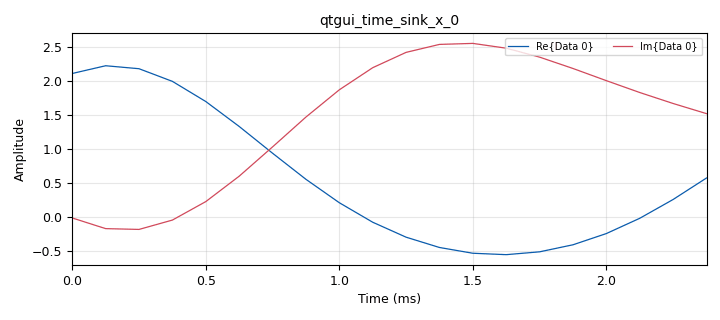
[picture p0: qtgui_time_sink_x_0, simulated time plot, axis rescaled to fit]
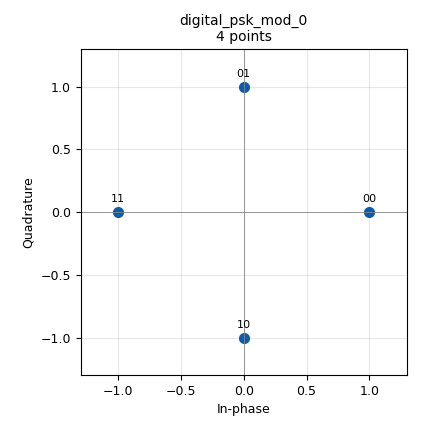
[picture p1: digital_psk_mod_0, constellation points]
options:
  parameters:
    category: Custom
    generate_options: qt_gui
    id: pyqt_eye_sink
    output_language: python
  states: {}

blocks:
- name: freq_bw
  id: variable_qtgui_range
  parameters:
    gui_hint: 1, 0, 1, 2
    orient: Qt.Horizontal
    start: '0'
    step: '0.001'
    stop: '0.1'
    value: '0'
  states: {}
- name: freq_offset
  id: variable_qtgui_range
  parameters:
    gui_hint: 0, 1, 1, 1
    label: Frequency Offset
    orient: Qt.Horizontal
    start: '-.5'
    step: '0.01'
    stop: '.5'
    value: '0'
  states: {}
- name: noise_amp
  id: variable_qtgui_range
  parameters:
    gui_hint: 0, 0, 1, 1
    label: Channel Noise
    orient: Qt.Horizontal
    start: '0'
    step: '0.01'
    stop: '1'
    value: '0'
  states: {}
- name: rolloff
  id: variable
  parameters:
    value: '0.35'
  states: {}
- name: samp_rate
  id: variable
  parameters:
    value: 1000*sps
  states: {}
- name: sps
  id: variable_qtgui_range
  parameters:
    gui_hint: 4,0,1,1
    label: Samples per symbol
    orient: Qt.Vertical
    rangeType: int
    start: '3'
    step: '1'
    stop: '10'
    value: '8'
  states: {}
- name: analog_random_source_x
  id: analog_random_source_x
  parameters:
    max: '256'
    min: '0'
    num_samps: '10000000'
    repeat: 'True'
    type: byte
  states: {}
- name: blocks_multiply_const_vxx_0_0
  id: blocks_multiply_const_vxx
  parameters:
    const: 1+1j
    type: complex
  states: {}
- name: blocks_null_sink_0
  id: blocks_null_sink
  parameters:
    type: float
  states: {state: disabled}
- name: blocks_throttle_0
  id: blocks_throttle
  parameters:
    samples_per_second: samp_rate
    type: complex
  states: {}
- name: channels_channel_model_0
  id: channels_channel_model
  parameters:
    epsilon: '1.0'
    freq_offset: '0.0'
    noise_voltage: '0.0'
    seed: '0'
    taps: 1.0 + 1.0j
  states: {}
- name: digital_psk_mod_0
  id: digital_psk_mod
  parameters:
    constellation_points: '4'
    differential: 'False'
    excess_bw: rolloff
    mod_code: '"gray"'
    samples_per_symbol: sps
  states: {}
- name: qtgui_eye_sink_x_0
  id: qtgui_eye_sink_x
  parameters:
    color2: red
    color3: green
    color4: black
    gui_hint: notebook@1
    name: '""'
    nconnections: '2'
    samp_per_symbol: sps
    size: '1024'
    srate: samp_rate
    type: complex
  states: {state: disabled}
- name: qtgui_eye_sink_x_0_0
  id: qtgui_eye_sink_x
  parameters:
    color2: red
    entags: 'False'
    gui_hint: notebook@0
    label1: ''
    label2: Signal 2/2
    name: '""'
    nconnections: '2'
    samp_per_symbol: sps
    size: '1024'
    srate: samp_rate
    type: float
  states: {state: disabled}
- name: qtgui_eye_sink_x_1
  id: qtgui_eye_sink_x
  parameters:
    entags: 'False'
    gui_hint: notebook@2
    label1: ''
    name: '""'
    samp_per_symbol: sps
    size: '1024'
    srate: samp_rate
    type: float
  states: {state: disabled}
- name: qtgui_eye_sink_x_1_0
  id: qtgui_eye_sink_x
  parameters:
    color2: red
    gui_hint: notebook@3
    name: '""'
    samp_per_symbol: sps
    size: '1024'
    srate: samp_rate
    type: complex
  states: {state: disabled}
- name: qtgui_eye_sink_x_1_1
  id: qtgui_eye_sink_x
  parameters:
    color2: red
    entags: 'False'
    gui_hint: notebook@2
    label1: ''
    name: '""'
    samp_per_symbol: sps
    size: '1024'
    srate: samp_rate
    type: complex
  states: {state: disabled}
- name: qtgui_time_sink_x_0
  id: qtgui_time_sink_x
  parameters:
    gui_hint: 3,0,1,2
    size: '20'
    srate: samp_rate
    type: complex
  states: {}

connections:
- [analog_random_source_x, '0', digital_psk_mod_0, '0']
- [blocks_multiply_const_vxx_0_0, '0', qtgui_eye_sink_x_0, '0']
- [blocks_multiply_const_vxx_0_0, '0', qtgui_eye_sink_x_1_1, '0']
- [blocks_multiply_const_vxx_0_0, '0', qtgui_time_sink_x_0, '0']
- [blocks_throttle_0, '0', channels_channel_model_0, '0']
- [channels_channel_model_0, '0', blocks_multiply_const_vxx_0_0, '0']
- [digital_psk_mod_0, '0', blocks_throttle_0, '0']

metadata:
  file_format: 1
